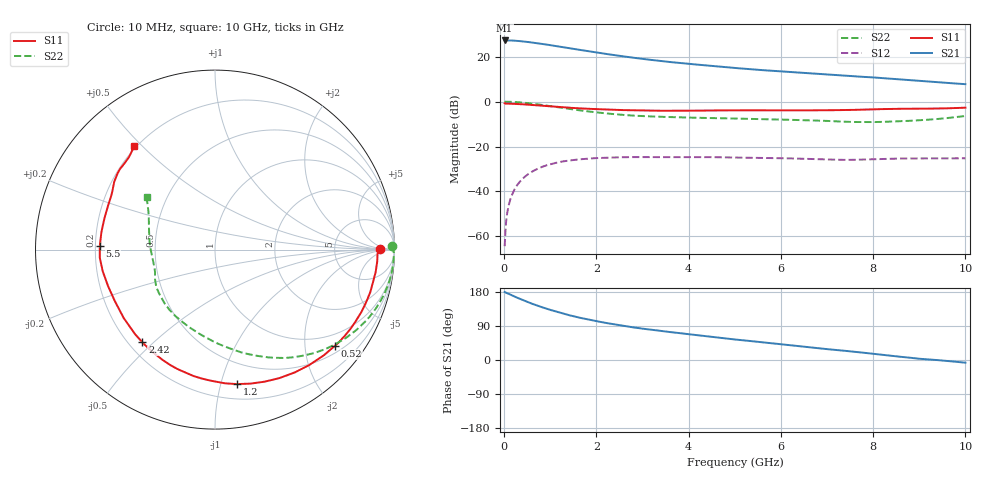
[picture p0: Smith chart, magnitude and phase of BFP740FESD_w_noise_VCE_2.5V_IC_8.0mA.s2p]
! Infineon Technologies  Discrete & RF Semiconductors
! BFP740FESD
! VCE =  2.5 V,  IC =  8.0 mA
! Common Emitter S-Parameters:  Jan 2016
# GHz  S  MA  R  50
!  f  S11  S21  S12  S22
! GHz  MAG  ANG  MAG  ANG  MAG  ANG  MAG  ANG
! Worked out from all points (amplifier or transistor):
!   233 points, 10 MHz to 10 GHz, reference 50 ohm
!   highest |S21| = 27.3 dB at 10 MHz (marker M1)
!   |S21| within 3 dB of that: start of sweep to 1.281 GHz
!   unconditionally stable (mu >= 1): 6.649 GHz to end of sweep
!   at 200 MHz: K = 0.03, MSG = 33.7 dB, |S12| = -40.2 dB
!   at 1.74 GHz: K = 0.26, MSG = 24.1 dB, |S12| = -25.5 dB
!   at 10 GHz: K = 1.37, MAG = 12.9 dB, |S12| = -25.3 dB
!   lowest NFmin = 0.56 dB at 450 MHz
!   S11 on the Smith chart (normalised r, x): 10 MHz: 24, +1; 520 MHz: 0.67, -2.70; 1.2 GHz: 0.32, -1.13; 2.42 GHz: 0.25, -0.46; 5.5 GHz: 0.22, +0.02; 10 GHz: 0.19, +0.48
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0.01  0.9198 0.3  23.17 179.4  0.0006 62.9  0.9848 1.1
0.07  0.9051 -5.4  23.09 176.0  0.0035 87.5  0.9964 -3.6
0.2  0.8968 -15.4  22.99 169.0  0.0098 81.0  0.9868 -10.4
0.34  0.8816 -25.9  22.4 161.5  0.0164 75.2  0.9649 -17.4
0.52  0.8566 -38.7  21.38 152.6  0.0242 67.8  0.9257 -26.0
0.6  0.8453 -44.2  20.88 148.7  0.0273 64.7  0.9061 -29.6
0.7  0.8301 -50.9  20.26 144.4  0.0311 61.1  0.8802 -34.0
0.82  0.8119 -58.3  19.39 139.3  0.0351 56.9  0.8473 -39.0
1  0.7861 -69.4  18.23 132.3  0.0403 51.0  0.7977 -46.3
1.2  0.7595 -80.6  16.93 125.0  0.0451 45.2  0.7438 -53.7
1.4  0.7335 -90.7  15.65 118.4  0.0486 39.9  0.6922 -60.6
1.68  0.7058 -103.0  14.08 110.5  0.0524 33.7  0.6319 -69.1
2  0.6823 -114.7  12.49 102.5  0.0552 28.1  0.5776 -77.8
2.42  0.6562 -128.1  10.81 93.3  0.0573 21.8  0.5234 -88.4
2.8  0.6397 -138.5  9.55 86.1  0.0581 17.4  0.489 -96.8
3.4  0.6277 -150.9  8.05 76.7  0.0581 12.5  0.4599 -106.4
4.4  0.6346 -167.5  6.405 62.4  0.0579 7.1  0.4327 -119.5
5.1  0.6426 -177.0  5.536 53.0  0.0567 4.2  0.4182 -128.4
5.5  0.6421 178.1  5.131 47.9  0.0559 2.9  0.4107 -133.1
6.8  0.6417 160.1  4.163 31.3  0.0521 1.0  0.3782 -151.2
8.4  0.6898 141.8  3.25 11.1  0.0536 5.8  0.3608 178.3
10  0.734 127.8  2.456 -7.2  0.0546 4.7  0.4796 142.6
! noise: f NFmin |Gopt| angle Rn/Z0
0.45  0.56  0.32  6  0.1
2.4  0.64  0.21  46  0.1
5.5  0.82  0.33  134  0.08
10  1.44  0.4  -138  0.12
